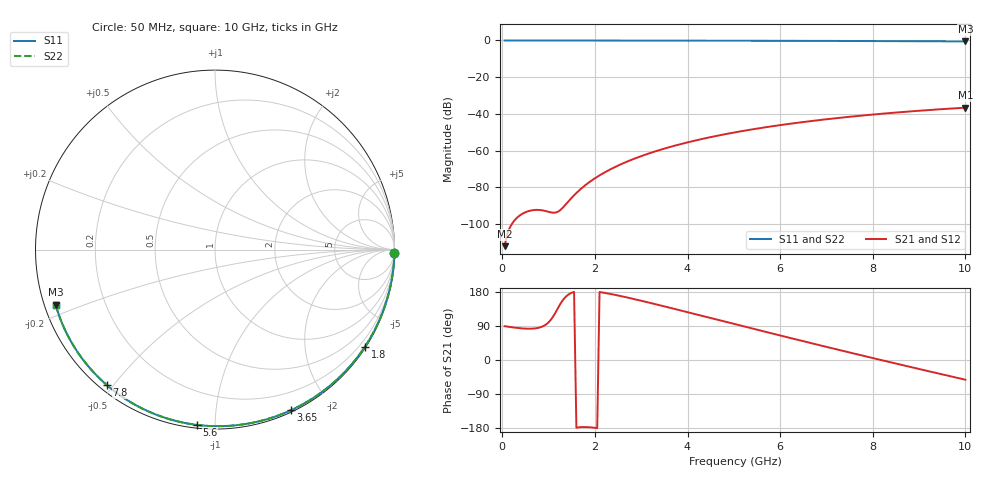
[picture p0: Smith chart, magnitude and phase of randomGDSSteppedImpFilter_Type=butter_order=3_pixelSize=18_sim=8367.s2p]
! freq	dB(S11)	phase(S11)	dB(S12)	phase(S12)
!  dB(S21)	phase(S21)	dB(S22)	phase(S22)
!S-par simulation data
#  GHz  S  DB  R 50
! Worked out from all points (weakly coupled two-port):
!   200 points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, 50 MHz to 10 GHz, reference 50 ohm
!   highest |S21| = -36.59 dB at 10 GHz (marker M1); lowest = -112.0 dB at 50 MHz (marker M2)
!   lowest |S11| = -0.5 dB at 10 GHz (marker M3), VSWR 32.17, Z = 1.6 - j8.41 ohm
!   |S11| at or under -10 dB: nowhere
!   |S22| runs from -0.5 to 0.0 dB; largest |S21 - S12| = 0
!   S11 on the Smith chart (normalised r, x): 50 MHz: open; 1.8 GHz: 0.03, -3.39; 3.65 GHz: 0.02, -1.58; 5.6 GHz: 0.02, -0.90; 7.8 GHz: 0.02, -0.48; 10 GHz: 0.03, -0.17
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0.05  -0.00 -0.9  -111.97 89.1  -111.97 89.1  -0.00 -0.9
0.45  -0.01 -8.4  -94.10 83.2  -94.10 83.2  -0.01 -8.4
0.85  -0.02 -15.7  -92.40 87.5  -92.40 87.5  -0.02 -15.7
1.7  -0.04 -31.1  -80.71 -177.2  -80.71 -177.2  -0.04 -31.1
1.75  -0.04 -32.0  -79.64 -176.9  -79.64 -176.9  -0.04 -32.0
1.8  -0.04 -32.9  -78.63 -177.0  -78.63 -177.0  -0.04 -32.9
1.95  -0.05 -35.5  -75.86 -178.3  -75.86 -178.3  -0.05 -35.5
2.1  -0.05 -38.2  -73.43 179.4  -73.43 179.4  -0.05 -38.2
2.3  -0.05 -41.7  -70.59 175.1  -70.59 175.1  -0.05 -41.7
2.5  -0.06 -45.2  -68.10 170.2  -68.10 170.2  -0.06 -45.2
2.9  -0.07 -52.1  -63.88 159.3  -63.88 159.3  -0.07 -52.1
3.4  -0.08 -60.6  -59.61 144.5  -59.61 144.5  -0.08 -60.6
3.65  -0.09 -64.8  -57.77 137.0  -57.77 137.0  -0.09 -64.8
4.3  -0.11 -75.4  -53.69 117.0  -53.69 117.0  -0.11 -75.4
5.05  -0.13 -87.4  -49.90 93.8  -49.90 93.8  -0.13 -87.4
5.6  -0.16 -95.9  -47.57 76.9  -47.57 76.9  -0.16 -95.9
6.15  -0.19 -104.2  -45.55 60.2  -45.55 60.2  -0.19 -104.2
6.7  -0.22 -112.4  -43.77 43.6  -43.77 43.6  -0.22 -112.4
7.8  -0.30 -128.5  -40.80 11.0  -40.80 11.0  -0.30 -128.5
8.35  -0.35 -136.5  -39.55 -5.1  -39.55 -5.1  -0.35 -136.5
9.2  -0.44 -149.0  -37.89 -29.4  -37.89 -29.4  -0.44 -149.0
10  -0.54 -160.9  -36.59 -52.0  -36.59 -52.0  -0.54 -160.9
